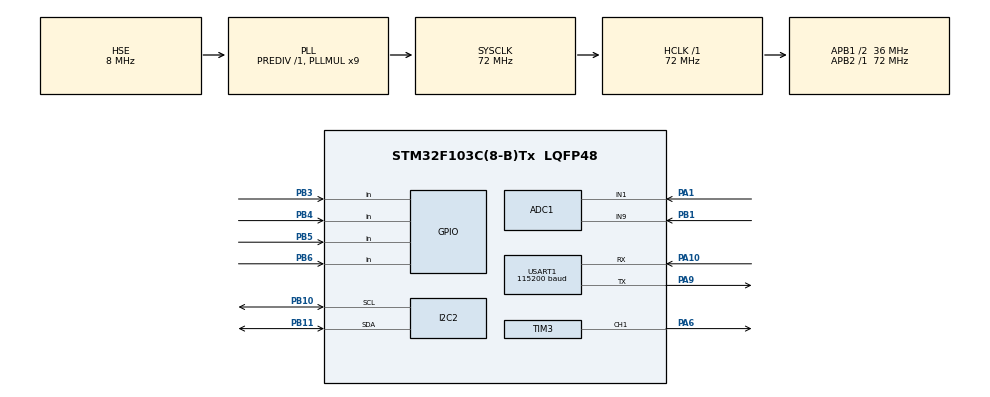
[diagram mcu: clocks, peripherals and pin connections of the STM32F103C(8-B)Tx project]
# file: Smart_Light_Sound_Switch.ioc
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ADC1.Channel-0\#ChannelRegularConversion=ADC_CHANNEL_1
ADC1.Channel-1\#ChannelRegularConversion=ADC_CHANNEL_9
ADC1.ContinuousConvMode=ENABLE
ADC1.DiscontinuousConvMode=DISABLE
ADC1.NbrOfConversion=2
ADC1.NbrOfConversionFlag=1
ADC1.Rank-0\#ChannelRegularConversion=1
ADC1.Rank-1\#ChannelRegularConversion=2
ADC1.SamplingTime-0\#ChannelRegularConversion=ADC_SAMPLETIME_55CYCLES_5
ADC1.SamplingTime-1\#ChannelRegularConversion=ADC_SAMPLETIME_55CYCLES_5
ADC1.master=1
Dma.ADC1.0.Direction=DMA_PERIPH_TO_MEMORY
Dma.ADC1.0.Instance=DMA1_Channel1
Dma.ADC1.0.MemDataAlignment=DMA_MDATAALIGN_HALFWORD
Dma.ADC1.0.MemInc=DMA_MINC_ENABLE
Dma.ADC1.0.Mode=DMA_CIRCULAR
Dma.ADC1.0.PeriphDataAlignment=DMA_PDATAALIGN_HALFWORD
Dma.ADC1.0.PeriphInc=DMA_PINC_DISABLE
Dma.ADC1.0.Priority=DMA_PRIORITY_HIGH
Dma.Request0=ADC1
I2C2.I2C_Mode=I2C_Fast
Mcu.Family=STM32F1
Mcu.Name=STM32F103C(8-B)Tx
Mcu.Package=LQFP48
NVIC.ADC1_2_IRQn=true\:0\:0\:false\:false\:true\:true\:true
NVIC.DMA1_Channel1_IRQn=true\:0\:0\:false\:false\:true\:false\:true
NVIC.PriorityGroup=NVIC_PRIORITYGROUP_4
NVIC.TIM2_IRQn=true\:0\:0\:false\:false\:true\:true\:true
NVIC.TIM3_IRQn=true\:0\:0\:false\:false\:true\:true\:true
NVIC.USART1_IRQn=true\:0\:0\:false\:false\:true\:true\:true
PA1.Signal=ADCx_IN1
PA10.Mode=Asynchronous
PA10.Signal=USART1_RX
PA13.Mode=Serial_Wire
PA13.Signal=SYS_JTMS-SWDIO
PA14.Mode=Serial_Wire
PA14.Signal=SYS_JTCK-SWCLK
PA6.Signal=S_TIM3_CH1
PA9.Mode=Asynchronous
PA9.Signal=USART1_TX
PB1.Signal=ADCx_IN9
PB10.Mode=I2C
PB10.Signal=I2C2_SCL
PB11.Mode=I2C
PB11.Signal=I2C2_SDA
PB3.GPIO_Mode=GPIO_MODE_INPUT
PB3.GPIO_PuPd=GPIO_NOPULL
PB3.Signal=GPIO_Input
PB4.GPIO_Mode=GPIO_MODE_INPUT
PB4.GPIO_PuPd=GPIO_NOPULL
PB4.Signal=GPIO_Input
PB5.GPIO_Mode=GPIO_MODE_INPUT
PB5.GPIO_PuPd=GPIO_NOPULL
PB5.Signal=GPIO_Input
PB6.GPIO_Mode=GPIO_MODE_INPUT
PB6.GPIO_PuPd=GPIO_NOPULL
PB6.Signal=GPIO_Input
PD0-OSC_IN.Mode=HSE-External-Oscillator
PD0-OSC_IN.Signal=RCC_OSC_IN
PD1-OSC_OUT.Mode=HSE-External-Oscillator
PD1-OSC_OUT.Signal=RCC_OSC_OUT
ProjectManager.HeapSize=0x200
ProjectManager.StackSize=0x400
ProjectManager.TargetToolchain=MDK-ARM V5.27
RCC.ADCPresc=RCC_ADCPCLK2_DIV6
RCC.AHBFreq_Value=72000000
RCC.APB1CLKDivider=RCC_HCLK_DIV2
RCC.APB1Freq_Value=36000000
RCC.APB1TimFreq_Value=72000000
RCC.APB2Freq_Value=72000000
RCC.APB2TimFreq_Value=72000000
RCC.HCLKFreq_Value=72000000
RCC.PLLMUL=RCC_PLL_MUL9
RCC.PLLSourceVirtual=RCC_PLLSOURCE_HSE
RCC.SYSCLKFreq_VALUE=72000000
RCC.SYSCLKSource=RCC_SYSCLKSOURCE_PLLCLK
RCC.USBFreq_Value=72000000
SH.ADCx_IN1.0=ADC1_IN1,IN1
SH.ADCx_IN9.0=ADC1_IN9,IN9
SH.S_TIM3_CH1.0=TIM3_CH1,PWM Generation1 CH1
TIM2.Period=50-1
TIM2.Prescaler=7200-1
TIM3.Channel-PWM\ Generation1\ CH1=TIM_CHANNEL_1
TIM3.Period=100-1
TIM3.Prescaler=72-1
TIM3.Pulse-PWM\ Generation1\ CH1=100
USART1.BaudRate=115200
USART1.VirtualMode=VM_ASYNC
VP_TIM2_VS_ClockSourceINT.Mode=Internal
board=custom

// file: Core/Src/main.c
/* USER CODE BEGIN Header */
/**
  ******************************************************************************
  * @file           : main.c
  * @brief          : Main program body
  ******************************************************************************
  * @attention
  *
  * <h2><center>&copy; Copyright (c) 2025 STMicroelectronics.
  * All rights reserved.</center></h2>
  *
  * This software component is licensed by ST under BSD 3-Clause license,
  * the "License"; You may not use this file except in compliance with the
  * License. You may obtain a copy of the License at:
  *                        opensource.org/licenses/BSD-3-Clause
  *
  ******************************************************************************
  */
/* USER CODE END Header */
#include "main.h"
#include "adc.h"
#include "dma.h"
#include "i2c.h"
#include "tim.h"
#include "usart.h"
#include "gpio.h"

/* USER CODE BEGIN Includes */
#include "led.h"
#include "oled.h"
#include "sound_light.h"
#include "menu.h"
#include <string.h>
#include <stdio.h>
#include "key.h"
/* USER CODE END Includes */

/* USER CODE BEGIN PTD */
u8g2_t u8g2;
#define RXBUFFERSIZE  256     //最大接收字节数
char RxBuffer[RXBUFFERSIZE];   //接收数据
uint8_t aRxBuffer;			//接收中断缓冲
uint8_t Uart1_Rx_Cnt = 0;		//接收缓冲计数
/* USER CODE END PTD */

void SystemClock_Config(void);

/* USER CODE BEGIN 0 */
int fputc(int ch, FILE *f)
{
 uint8_t temp[1] = {ch};
 HAL_UART_Transmit(&huart1, temp, 1, 0xffff);
return ch;
}

int fgetc(FILE * f)
{
  uint8_t ch = 0;
  HAL_UART_Receive(&huart1,&ch, 1, 0xffff);
  return ch;
}

/* USER CODE END 0 */

int main(void)
{

  /* MCU Configuration--------------------------------------------------------*/

  /* Reset of all peripherals, Initializes the Flash interface and the Systick. */
  HAL_Init();

  /* Configure the system clock */
  SystemClock_Config();

  /* Initialize all configured peripherals */
  MX_GPIO_Init();
  MX_DMA_Init();
  MX_ADC1_Init();
  MX_I2C2_Init();
  MX_TIM3_Init();
  MX_USART1_UART_Init();
  MX_TIM2_Init();
  /* USER CODE BEGIN 2 */

  HAL_UART_Receive_IT(&huart1, (uint8_t *)&aRxBuffer, 1);
  HAL_TIM_PWM_Start(&htim3,TIM_CHANNEL_1);
  HAL_TIM_Base_Start_IT(&htim2);
  SoundLight_Init();
  u8g2Init(&u8g2);
	HAL_Delay(100);
  u8g2Init(&u8g2);
	HAL_Delay(100);
  Show_Menu_Config(); //菜单初始化
  /* USER CODE END 2 */

  /* Infinite loop */
  /* USER CODE BEGIN WHILE */
  while (1)
  {
    Show_Menu(fast_speed);  //菜单混动函数，修改"fast_speed"可以更改移滚动速度

    /* USER CODE END WHILE */

  }
}

void SystemClock_Config(void)
{
  RCC_OscInitTypeDef RCC_OscInitStruct = {0};
  RCC_ClkInitTypeDef RCC_ClkInitStruct = {0};
  RCC_PeriphCLKInitTypeDef PeriphClkInit = {0};

  /** Initializes the RCC Oscillators according to the specified parameters
  * in the RCC_OscInitTypeDef structure.
  */
  RCC_OscInitStruct.OscillatorType = RCC_OSCILLATORTYPE_HSE;
  RCC_OscInitStruct.HSEState = RCC_HSE_ON;
  RCC_OscInitStruct.HSEPredivValue = RCC_HSE_PREDIV_DIV1;
  RCC_OscInitStruct.HSIState = RCC_HSI_ON;
  RCC_OscInitStruct.PLL.PLLState = RCC_PLL_ON;
  RCC_OscInitStruct.PLL.PLLSource = RCC_PLLSOURCE_HSE;
  RCC_OscInitStruct.PLL.PLLMUL = RCC_PLL_MUL9;
  if (HAL_RCC_OscConfig(&RCC_OscInitStruct) != HAL_OK)
  {
    Error_Handler();
  }
  /** Initializes the CPU, AHB and APB buses clocks
  */
  RCC_ClkInitStruct.ClockType = RCC_CLOCKTYPE_HCLK|RCC_CLOCKTYPE_SYSCLK
                              |RCC_CLOCKTYPE_PCLK1|RCC_CLOCKTYPE_PCLK2;
  RCC_ClkInitStruct.SYSCLKSource = RCC_SYSCLKSOURCE_PLLCLK;
  RCC_ClkInitStruct.AHBCLKDivider = RCC_SYSCLK_DIV1;
  RCC_ClkInitStruct.APB1CLKDivider = RCC_HCLK_DIV2;
  RCC_ClkInitStruct.APB2CLKDivider = RCC_HCLK_DIV1;

  if (HAL_RCC_ClockConfig(&RCC_ClkInitStruct, FLASH_LATENCY_2) != HAL_OK)
  {
    Error_Handler();
  }
  PeriphClkInit.PeriphClockSelection = RCC_PERIPHCLK_ADC;
  PeriphClkInit.AdcClockSelection = RCC_ADCPCLK2_DIV6;
  if (HAL_RCCEx_PeriphCLKConfig(&PeriphClkInit) != HAL_OK)
  {
    Error_Handler();
  }
}

/* USER CODE BEGIN 4 */

void HAL_UART_RxCpltCallback(UART_HandleTypeDef *huart)
{
  /* Prevent unused argument(s) compilation warning */
  UNUSED(huart);
  /* NOTE: This function Should not be modified, when the callback is needed,
           the HAL_UART_TxCpltCallback could be implemented in the user file
   */

	if(Uart1_Rx_Cnt >= 255)  //溢出判断
	{
		Uart1_Rx_Cnt = 0;
		memset(RxBuffer,0x00,sizeof(RxBuffer));
		HAL_UART_Transmit(&huart1, (uint8_t *)"数据溢出", 10,0xFFFF);

	}
	else
	{
		RxBuffer[Uart1_Rx_Cnt++] = aRxBuffer;   //接收数据转存

		if((RxBuffer[Uart1_Rx_Cnt-1] == 0x0A)&&(RxBuffer[Uart1_Rx_Cnt-2] == 0x0D)) //判断结束位
		{
			HAL_UART_Transmit(&huart1, (uint8_t *)&RxBuffer, Uart1_Rx_Cnt,0xFFFF); //将收到的信息发送出去
            while(HAL_UART_GetState(&huart1) == HAL_UART_STATE_BUSY_TX);//检测UART发送结束
			Uart1_Rx_Cnt = 0;
			memset(RxBuffer,0x00,sizeof(RxBuffer)); //清空数组
		}
	}

	HAL_UART_Receive_IT(&huart1, (uint8_t *)&aRxBuffer, 1);   //再开启接收中断
}

/* USER CODE END 4 */

void Error_Handler(void)
{
  __disable_irq();
  while (1)
  {
  }
}

/************************ (C) COPYRIGHT STMicroelectronics *****END OF FILE****/
